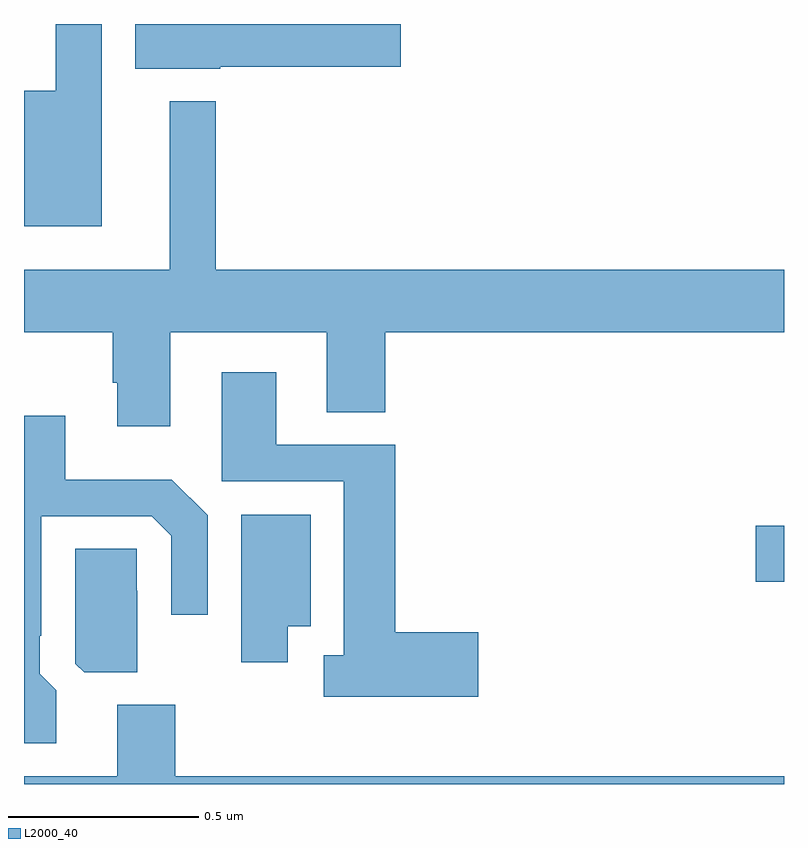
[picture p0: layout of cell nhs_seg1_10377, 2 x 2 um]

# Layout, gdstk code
import gdstk
lib = gdstk.Library(unit=1e-6, precision=1e-09)
def R(c, l, rs):  # rectangles x0, y0, x1, y1
    for r in rs: c.add(gdstk.rectangle(r[:2], r[2:], *l))
def P(c, l, *ps):  # polygons
    for p in ps: c.add(gdstk.Polygon(p, *l))
L2000_40 = (2000, 40)

nhs_seg1_10377 = lib.new_cell('nhs_seg1_10377')
R(nhs_seg1_10377, L2000_40, [(241.926,561.731,242,561.878)])
P(nhs_seg1_10377, L2000_40, [(240.516,563.087),(240.991,563.087),(240.991,563.199),(240.293,563.199),(240.293,563.081),(240.516,563.081)],
  [(240.205,563.199),(240.084,563.199),(240.084,563.023),(240,563.023),(240,562.667),(240.205,562.667)],
  [(240.385,562.388),(240.797,562.388),(240.797,562.177),(240.95,562.177),(240.95,562.388),(242,562.388),(242,562.552),(240.505,562.552),(240.505,562.996),(240.383,562.996),(240.383,562.552),(240,562.552),(240,562.388),(240.233,562.388),(240.233,562.255),(240.245,562.255),(240.245,562.14),(240.385,562.14)],
  [(241.195,561.599),(240.977,561.599),(240.977,562.092),(240.664,562.092),(240.664,562.282),(240.521,562.282),(240.521,561.996),(240.842,561.996),(240.842,561.538),(240.789,561.538),(240.789,561.429),(241.195,561.429)],
  [(240.085,561.446),(240.042,561.489),(240.042,561.589),(240.045,561.589),(240.045,561.903),(240.336,561.903),(240.387,561.852),(240.387,561.645),(240.483,561.645),(240.483,561.906),(240.389,562),(240.109,562),(240.109,562.168),(240,562.168),(240,561.306),(240.085,561.306)],
  [(240.694,561.614),(240.754,561.614),(240.754,561.907),(240.572,561.907),(240.572,561.519),(240.694,561.519)],
  [(240.298,561.707),(240.297,561.707),(240.297,561.818),(240.135,561.818),(240.135,561.516),(240.159,561.493),(240.298,561.493)],
  [(242,561.22),(240.398,561.22),(240.398,561.408),(240.245,561.408),(240.245,561.22),(240,561.22),(240,561.199),(242,561.199)])

lib.write_gds('nhs_seg1_10377.gds')
